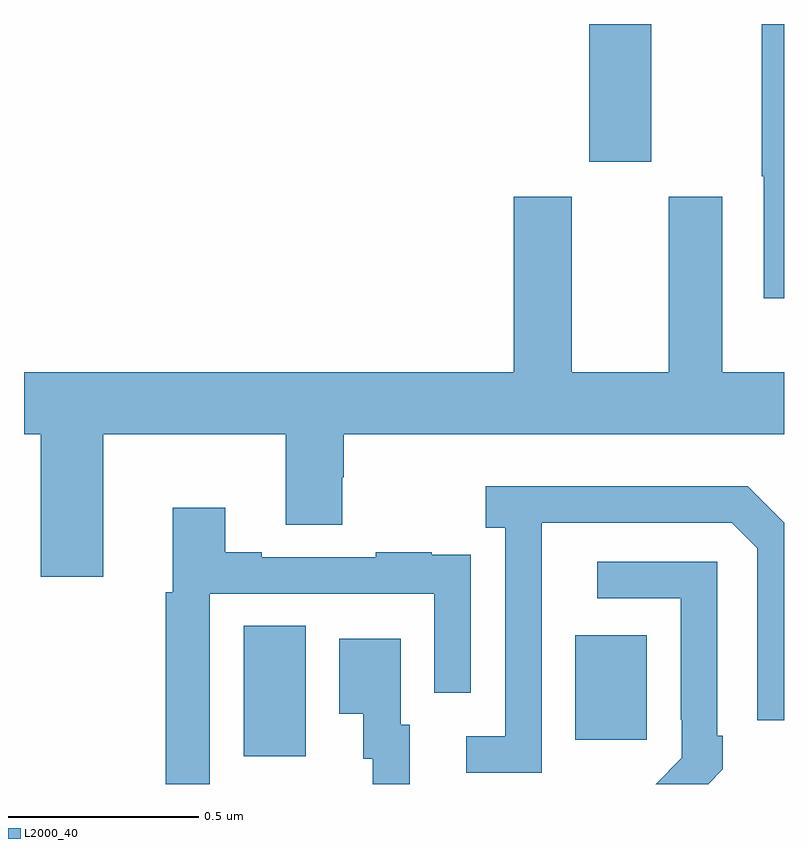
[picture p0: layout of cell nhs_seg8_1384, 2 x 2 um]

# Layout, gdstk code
import gdstk
lib = gdstk.Library(unit=1e-6, precision=1e-09)
def R(c, l, rs):  # rectangles x0, y0, x1, y1
    for r in rs: c.add(gdstk.rectangle(r[:2], r[2:], *l))
def P(c, l, *ps):  # polygons
    for p in ps: c.add(gdstk.Polygon(p, *l))
L2000_40 = (2000, 40)

nhs_seg8_1384 = lib.new_cell('nhs_seg8_1384')
R(nhs_seg8_1384, L2000_40, [(129.578,1128.973,129.742,1129.316), (130.451,1129.017,130.639,1129.291), (130.487,1130.538,130.651,1130.9)])
P(nhs_seg8_1384, L2000_40, [(131,1130.9),(130.942,1130.9),(130.942,1130.5),(130.947,1130.5),(130.947,1130.178),(131,1130.178)],
  [(129.208,1129.82),(129.689,1129.82),(129.689,1129.582),(129.837,1129.582),(129.837,1129.707),(129.842,1129.707),(129.842,1129.82),(131,1129.82),(131,1129.984),(130.837,1129.984),(130.837,1130.446),(130.697,1130.446),(130.697,1129.984),(130.441,1129.984),(130.441,1130.446),(130.289,1130.446),(130.289,1129.984),(129,1129.984),(129,1129.82),(129.044,1129.82),(129.044,1129.446),(129.208,1129.446)],
  [(130.362,1129.387),(130.363,1129.387),(130.363,1129.587),(130.863,1129.587),(130.929,1129.521),(130.929,1129.068),(131,1129.068),(131,1129.588),(130.904,1129.684),(130.215,1129.684),(130.215,1129.574),(130.266,1129.574),(130.266,1129.026),(130.164,1129.026),(130.164,1128.93),(130.362,1128.93)],
  [(129.489,1129.401),(130.08,1129.401),(130.08,1129.14),(130.176,1129.14),(130.176,1129.394),(130.175,1129.394),(130.175,1129.503),(130.073,1129.503),(130.073,1129.51),(129.925,1129.51),(129.925,1129.497),(129.625,1129.497),(129.625,1129.51),(129.529,1129.51),(129.529,1129.627),(129.392,1129.627),(129.392,1129.404),(129.373,1129.404),(129.373,1128.9),(129.489,1128.9)],
  [(130.839,1128.939),(130.839,1129.027),(130.824,1129.027),(130.824,1129.485),(130.509,1129.485),(130.509,1129.389),(130.728,1129.389),(130.728,1129.069),(130.731,1129.069),(130.731,1128.969),(130.662,1128.9),(130.8,1128.9)],
  [(130.015,1129.056),(129.991,1129.056),(129.991,1129.282),(129.83,1129.282),(129.83,1129.085),(129.893,1129.085),(129.893,1128.966),(129.918,1128.966),(129.918,1128.9),(130.015,1128.9)])

lib.write_gds('nhs_seg8_1384.gds')
